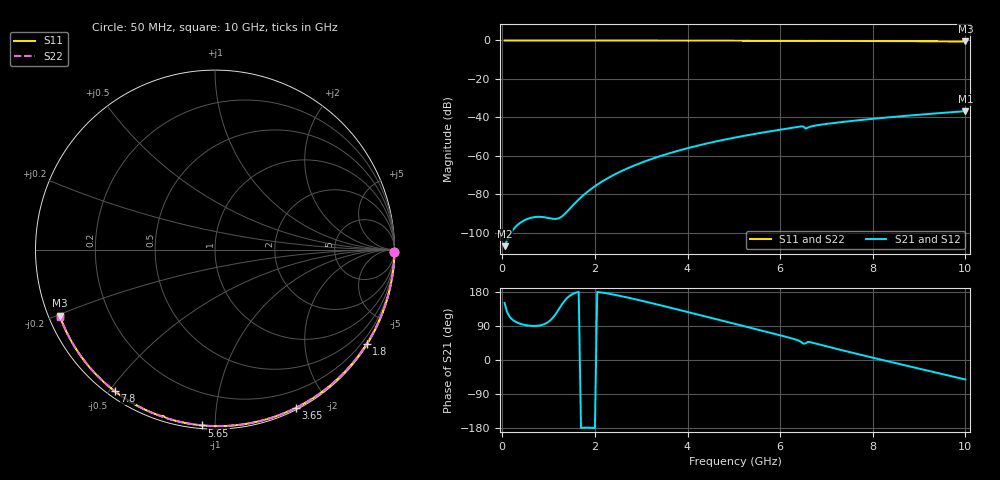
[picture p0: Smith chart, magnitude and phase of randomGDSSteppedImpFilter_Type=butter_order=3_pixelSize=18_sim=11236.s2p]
! freq	dB(S11)	phase(S11)	dB(S12)	phase(S12)
!  dB(S21)	phase(S21)	dB(S22)	phase(S22)
!S-par simulation data
#  GHz  S  DB  R 50
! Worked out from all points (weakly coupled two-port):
!   200 points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, 50 MHz to 10 GHz, reference 50 ohm
!   highest |S21| = -36.77 dB at 10 GHz (marker M1); lowest = -107.0 dB at 50 MHz (marker M2)
!   lowest |S11| = -0.5 dB at 10 GHz (marker M3), VSWR 32.70, Z = 1.59 - j10.2 ohm
!   |S11| at or under -10 dB: nowhere
!   |S22| runs from -0.5 to 0.0 dB; largest |S21 - S12| = 0
!   S11 on the Smith chart (normalised r, x): 50 MHz: open; 1.8 GHz: 0.03, -3.50; 3.65 GHz: 0.02, -1.63; 5.65 GHz: 0.02, -0.93; 7.8 GHz: 0.02, -0.52; 10 GHz: 0.03, -0.20
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0.05  -0.00 -0.9  -106.96 150.5  -106.96 150.5  -0.00 -0.9
0.85  -0.02 -15.2  -91.77 92.3  -91.77 92.3  -0.02 -15.2
1.75  -0.04 -31.0  -80.49 -178.8  -80.49 -178.8  -0.04 -30.9
1.8  -0.04 -31.9  -79.47 -178.5  -79.47 -178.5  -0.04 -31.8
2.1  -0.05 -37.1  -74.20 178.9  -74.20 178.9  -0.05 -37.0
2.3  -0.05 -40.5  -71.31 175.0  -71.31 175.0  -0.05 -40.4
2.5  -0.06 -43.9  -68.79 170.2  -68.79 170.2  -0.06 -43.8
2.9  -0.07 -50.6  -64.52 159.5  -64.52 159.5  -0.07 -50.5
3.4  -0.08 -58.9  -60.21 144.9  -60.21 144.9  -0.08 -58.8
3.65  -0.09 -63.0  -58.36 137.4  -58.36 137.4  -0.09 -62.8
4.3  -0.10 -73.4  -54.23 117.6  -54.23 117.6  -0.10 -73.2
5.05  -0.13 -85.1  -50.37 94.6  -50.37 94.6  -0.13 -84.8
5.65  -0.16 -94.2  -47.79 76.1  -47.79 76.1  -0.16 -93.9
6.45  -0.21 -106.1  -44.69 47.9  -44.69 47.9  -0.20 -105.7
6.5  -0.24 -106.9  -44.75 43.0  -44.75 43.0  -0.20 -106.4
6.55  -0.26 -107.3  -45.83 43.9  -45.83 43.9  -0.21 -107.1
6.7  -0.22 -109.5  -44.54 45.4  -44.54 45.4  -0.21 -109.3
7.1  -0.24 -115.3  -43.10 32.9  -43.10 32.9  -0.24 -115.1
7.8  -0.30 -125.3  -41.23 12.0  -41.23 12.0  -0.29 -125.0
8.35  -0.35 -133.2  -39.96 -4.1  -39.96 -4.1  -0.34 -132.8
9.2  -0.43 -145.3  -38.23 -28.5  -38.23 -28.5  -0.43 -144.9
10  -0.53 -157.0  -36.77 -51.5  -36.77 -51.5  -0.53 -156.5
